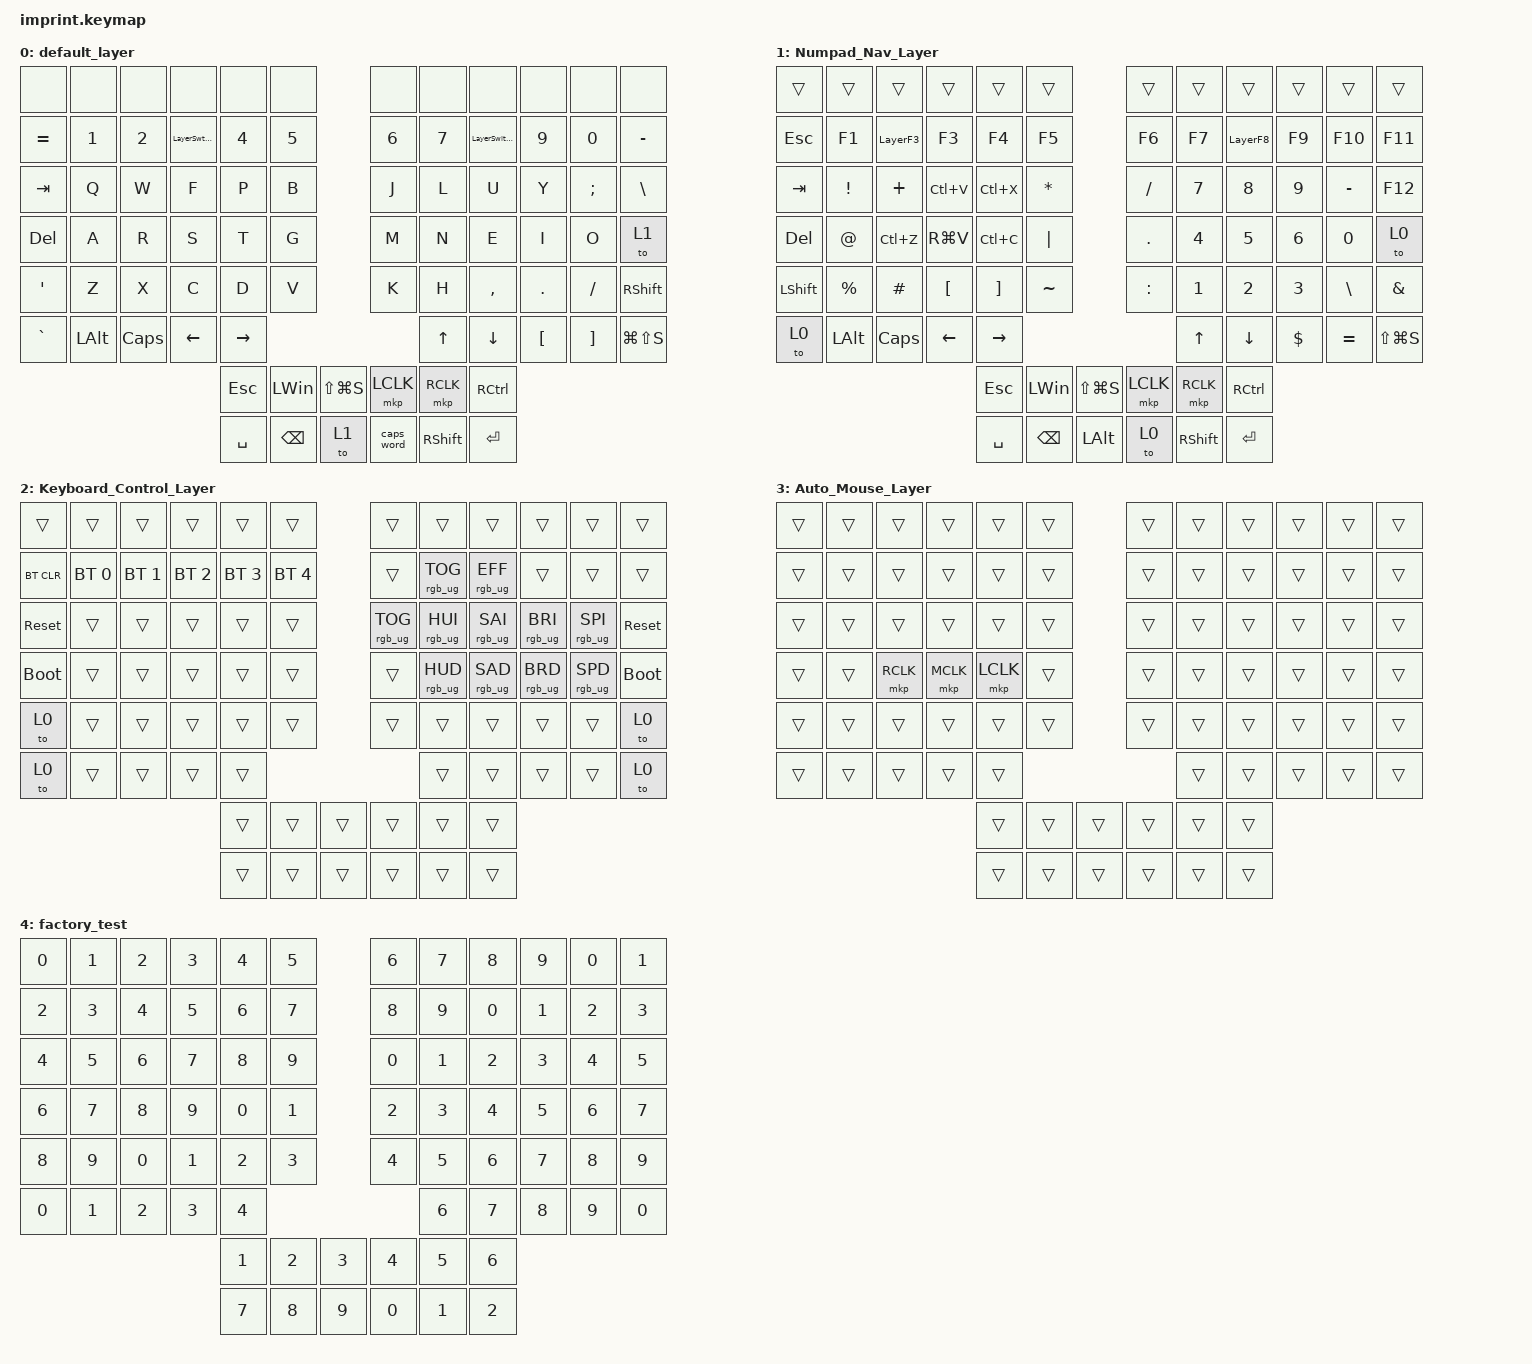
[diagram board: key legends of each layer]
#include <input/processors.dtsi>
#include <dt-bindings/zmk/input_transform.h>
#include <behaviors.dtsi>
#include <dt-bindings/zmk/bt.h>
#include <dt-bindings/zmk/keys.h>
#include <dt-bindings/zmk/pointing.h>
#include <dt-bindings/zmk/rgb.h>

/ {
    chosen { zmk,matrix-transform = &imprint_function_row_full_bottom_row; };

    behaviors {
        LayerSwtch3: LayerSwtch3 {
            compatible = "zmk,behavior-tap-dance";
            label = "LAYERSWTCH3";
            #binding-cells = <0>;
            bindings = <&kp N3>, <&to 1>;
        };

        LayerSwitch8: LayerSwitch8 {
            compatible = "zmk,behavior-tap-dance";
            label = "LAYERSWITCH8";
            #binding-cells = <0>;
            bindings = <&kp N8>, <&to 1>;
        };

        LayerF3: LayerF3 {
            compatible = "zmk,behavior-tap-dance";
            label = "LAYERF3";
            #binding-cells = <0>;
            bindings = <&kp F3>, <&to 0>;
        };

        LayerF8: LayerF8 {
            compatible = "zmk,behavior-tap-dance";
            label = "LAYERF8";
            #binding-cells = <0>;
            bindings = <&kp F8>, <&to 0>;
        };

        shift_shiftwin: shift_shiftwin {
            compatible = "zmk,behavior-tap-dance";
            label = "SHIFT_SHIFTWIN";
            #binding-cells = <0>;
            bindings = <&kp LEFT_SHIFT>, <&kp LG(LEFT_SHIFT)>;
        };
    };

    combos {
        compatible = "zmk,combos";

        color {
            bindings = <&to 2>;
            key-positions = <70 71 75 74>;
        };
    };

    keymap {
        compatible = "zmk,keymap";

        default_layer {
            bindings = <
&none       &none         &none     &none         &none       &none                           &none       &none            &none              &none             &none              &none
&kp EQUAL   &kp N1        &kp N2    &LayerSwtch3  &kp N4      &kp N5                          &kp N6      &kp N7           &LayerSwitch8      &kp N9            &kp N0             &kp MINUS
&kp TAB     &kp Q         &kp W     &kp F         &kp P       &kp B                           &kp J       &kp L            &kp U              &kp Y             &kp SEMICOLON      &kp BSLH
&kp DELETE  &kp A         &kp R     &kp S         &kp T       &kp G                           &kp M       &kp N            &kp E              &kp I             &kp O              &to 1
&kp SQT     &kp Z         &kp X     &kp C         &kp D       &kp V                           &kp K       &kp H            &kp COMMA          &kp DOT           &kp FSLH           &kp RSHFT
&kp GRAVE   &kp LEFT_ALT  &kp CLCK  &kp LEFT      &kp RIGHT                                               &kp UP           &kp DOWN           &kp LEFT_BRACKET  &kp RIGHT_BRACKET  &kp LG(LS(S))
                                                  &kp ESCAPE  &kp LEFT_WIN   &kp LS(LG(S))    &mkp LCLK   &mkp RCLK        &kp RIGHT_CONTROL
                                                  &kp SPACE   &kp BACKSPACE  &to 1            &caps_word  &kp RIGHT_SHIFT  &kp ENTER
            >;
        };

        Numpad_Nav_Layer {
            bindings = <
&trans          &trans        &trans        &trans            &trans             &trans                          &trans      &trans           &trans             &trans      &trans         &trans
&kp ESCAPE      &kp F1        &LayerF3      &kp F3            &kp F4             &kp F5                          &kp F6      &kp F7           &LayerF8           &kp F9      &kp F10        &kp F11
&kp TAB         &kp EXCL      &kp PLUS      &kp LC(V)         &kp LC(X)          &kp ASTERISK                    &kp SLASH   &kp N7           &kp N8             &kp N9      &kp MINUS      &kp F12
&kp DELETE      &kp AT        &kp LC(Z)     &kp RG(V)         &kp LC(C)          &kp PIPE                        &kp PERIOD  &kp N4           &kp N5             &kp N6      &kp N0         &to 0
&kp LEFT_SHIFT  &kp PERCENT   &kp HASH      &kp LEFT_BRACKET  &kp RIGHT_BRACKET  &kp TILDE                       &kp COLON   &kp N1           &kp N2             &kp N3      &kp BACKSLASH  &kp AMPERSAND
&to 0           &kp LEFT_ALT  &kp CAPSLOCK  &kp LEFT          &kp RIGHT                                                      &kp UP           &kp DOWN           &kp DOLLAR  &kp EQUAL      &kp LS(LG(S))
                                                              &kp ESCAPE         &kp LEFT_WIN   &kp LS(LG(S))    &mkp LCLK   &mkp RCLK        &kp RIGHT_CONTROL
                                                              &kp SPACE          &kp BACKSPACE  &kp LEFT_ALT     &to 0       &kp RIGHT_SHIFT  &kp ENTER
            >;
        };

        Keyboard_Control_Layer {
            bindings = <
&trans       &trans        &trans        &trans        &trans        &trans                  &trans           &trans           &trans           &trans           &trans           &trans
&bt BT_CLR   &bt BT_SEL 0  &bt BT_SEL 1  &bt BT_SEL 2  &bt BT_SEL 3  &bt BT_SEL 4            &trans           &rgb_ug RGB_TOG  &rgb_ug RGB_EFF  &trans           &trans           &trans
&sys_reset   &trans        &trans        &trans        &trans        &trans                  &rgb_ug RGB_TOG  &rgb_ug RGB_HUI  &rgb_ug RGB_SAI  &rgb_ug RGB_BRI  &rgb_ug RGB_SPI  &sys_reset
&bootloader  &trans        &trans        &trans        &trans        &trans                  &trans           &rgb_ug RGB_HUD  &rgb_ug RGB_SAD  &rgb_ug RGB_BRD  &rgb_ug RGB_SPD  &bootloader
&to 0        &trans        &trans        &trans        &trans        &trans                  &trans           &trans           &trans           &trans           &trans           &to 0
&to 0        &trans        &trans        &trans        &trans                                                 &trans           &trans           &trans           &trans           &to 0
                                                       &trans        &trans        &trans    &trans           &trans           &trans
                                                       &trans        &trans        &trans    &trans           &trans           &trans
            >;
        };

        Auto_Mouse_Layer {
            bindings = <
&trans  &trans  &trans     &trans     &trans     &trans            &trans  &trans  &trans  &trans  &trans  &trans
&trans  &trans  &trans     &trans     &trans     &trans            &trans  &trans  &trans  &trans  &trans  &trans
&trans  &trans  &trans     &trans     &trans     &trans            &trans  &trans  &trans  &trans  &trans  &trans
&trans  &trans  &mkp RCLK  &mkp MCLK  &mkp LCLK  &trans            &trans  &trans  &trans  &trans  &trans  &trans
&trans  &trans  &trans     &trans     &trans     &trans            &trans  &trans  &trans  &trans  &trans  &trans
&trans  &trans  &trans     &trans     &trans                               &trans  &trans  &trans  &trans  &trans
                                      &trans     &trans  &trans    &trans  &trans  &trans
                                      &trans     &trans  &trans    &trans  &trans  &trans
            >;
        };

        factory_test {
            bindings = <
&kp N0  &kp N1  &kp N2  &kp N3  &kp N4  &kp N5            &kp N6  &kp N7  &kp N8  &kp N9  &kp N0  &kp N1
&kp N2  &kp N3  &kp N4  &kp N5  &kp N6  &kp N7            &kp N8  &kp N9  &kp N0  &kp N1  &kp N2  &kp N3
&kp N4  &kp N5  &kp N6  &kp N7  &kp N8  &kp N9            &kp N0  &kp N1  &kp N2  &kp N3  &kp N4  &kp N5
&kp N6  &kp N7  &kp N8  &kp N9  &kp N0  &kp N1            &kp N2  &kp N3  &kp N4  &kp N5  &kp N6  &kp N7
&kp N8  &kp N9  &kp N0  &kp N1  &kp N2  &kp N3            &kp N4  &kp N5  &kp N6  &kp N7  &kp N8  &kp N9
&kp N0  &kp N1  &kp N2  &kp N3  &kp N4                            &kp N6  &kp N7  &kp N8  &kp N9  &kp N0
                                &kp N1  &kp N2  &kp N3    &kp N4  &kp N5  &kp N6
                                &kp N7  &kp N8  &kp N9    &kp N0  &kp N1  &kp N2
            >;
        };
    };
};

// right hand trackball configuration
// &trackball_peripheral_listener {
//    input-processors =
//     activate layer 3 within 500ms of the trackball moving
//     <&zip_temp_layer 3 500>;
// };
//left hand trackball configuration

&trackball_central_listener {
    input-processors =
        // multiply sensitivity by 1, divide by 3 (make it slower for scrolling),,,,,,,,,,,,,,,
        <&zip_xy_scaler 1 3>,
        // make this trackball output scrolling events by default instead of cursor movement,,,,,,,,,,,,,,,
        <&zip_xy_to_scroll_mapper>,
        // invert vertical scrolling so that the view moves in the same direction as the top of the trackball.,,,,,,,,,,,,,,,
        <&zip_scroll_transform INPUT_TRANSFORM_Y_INVERT>;
};
